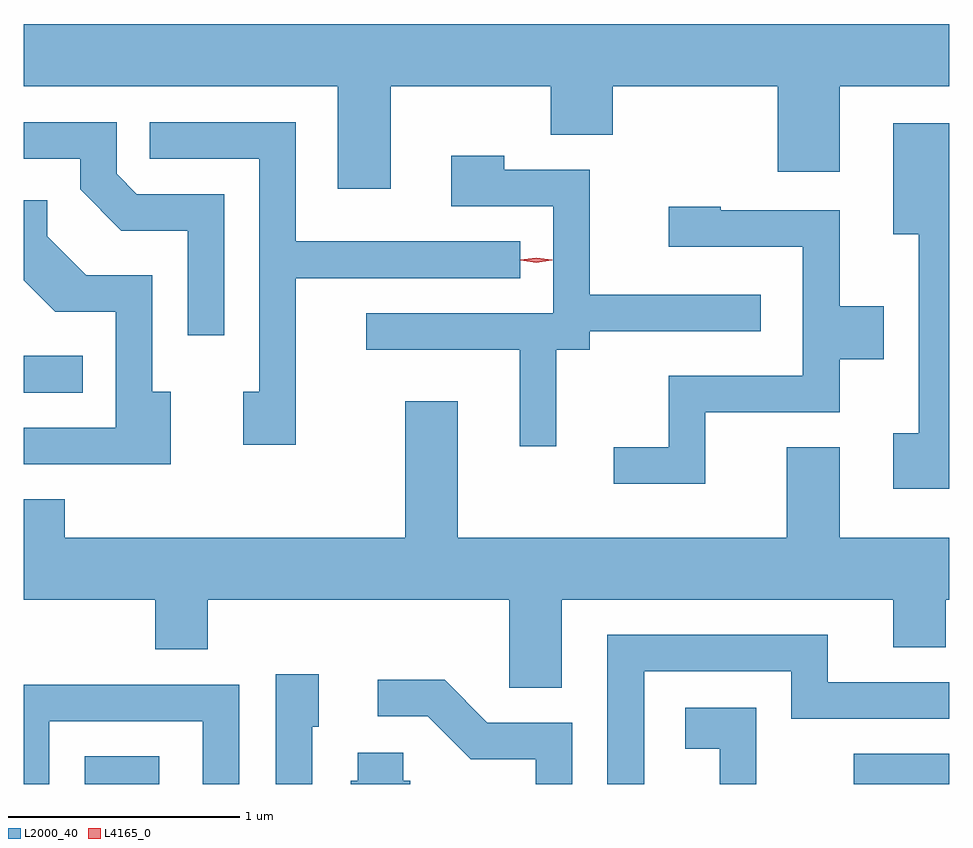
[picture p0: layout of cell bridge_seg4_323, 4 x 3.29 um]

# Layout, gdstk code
import gdstk
lib = gdstk.Library(unit=1e-6, precision=1e-09)
def R(c, l, rs):  # rectangles x0, y0, x1, y1
    for r in rs: c.add(gdstk.rectangle(r[:2], r[2:], *l))
def P(c, l, *ps):  # polygons
    for p in ps: c.add(gdstk.Polygon(p, *l))
L2000_40 = (2000, 40)
L4165_0 = (4165, 0)

bridge_seg4_323 = lib.new_cell('bridge_seg4_323')
R(bridge_seg4_323, L2000_40, [(625.926,1262.859,626.249,1262.979), (629.251,1262.859,629.663,1262.989), (625.663,1264.551,625.918,1264.709)])
P(bridge_seg4_323, L2000_40, [(627.249,1265.876),(627.941,1265.876),(627.941,1265.666),(628.209,1265.666),(628.209,1265.876),(628.921,1265.876),(628.921,1265.506),(629.189,1265.506),(629.189,1265.876),(629.663,1265.876),(629.663,1266.144),(625.663,1266.144),(625.663,1265.876),(627.021,1265.876),(627.021,1265.431),(627.249,1265.431)],
  [(626.529,1265.409),(626.152,1265.409),(626.064,1265.497),(626.064,1265.719),(625.663,1265.719),(625.663,1265.561),(625.906,1265.561),(625.906,1265.429),(626.084,1265.251),(626.371,1265.251),(626.371,1264.798),(626.529,1264.798)],
  [(626.839,1265.046),(627.808,1265.046),(627.808,1265.204),(626.839,1265.204),(626.839,1265.719),(626.208,1265.719),(626.208,1265.561),(626.681,1265.561),(626.681,1264.554),(626.611,1264.554),(626.611,1264.326),(626.839,1264.326)],
  [(629.663,1265.714),(629.421,1265.714),(629.421,1265.236),(629.531,1265.236),(629.531,1264.374),(629.421,1264.374),(629.421,1264.136),(629.663,1264.136)],
  [(627.964,1264.736),(628.109,1264.736),(628.109,1264.816),(628.848,1264.816),(628.848,1264.974),(628.109,1264.974),(628.109,1265.514),(627.739,1265.514),(627.739,1265.574),(627.511,1265.574),(627.511,1265.356),(627.951,1265.356),(627.951,1264.894),(627.143,1264.894),(627.143,1264.736),(627.806,1264.736),(627.806,1264.318),(627.964,1264.318)],
  [(626.299,1264.554),(626.219,1264.554),(626.219,1265.059),(625.932,1265.059),(625.764,1265.227),(625.764,1265.383),(625.663,1265.383),(625.663,1265.037),(625.799,1264.901),(626.061,1264.901),(626.061,1264.399),(625.663,1264.399),(625.663,1264.241),(626.299,1264.241)],
  [(628.609,1264.466),(629.189,1264.466),(629.189,1264.696),(629.379,1264.696),(629.379,1264.924),(629.189,1264.924),(629.189,1265.339),(628.675,1265.339),(628.675,1265.354),(628.451,1265.354),(628.451,1265.181),(629.031,1265.181),(629.031,1264.624),(628.451,1264.624),(628.451,1264.314),(628.213,1264.314),(628.213,1264.156),(628.609,1264.156)],
  [(627.989,1263.656),(629.421,1263.656),(629.421,1263.451),(629.649,1263.451),(629.649,1263.656),(629.663,1263.656),(629.663,1263.924),(629.189,1263.924),(629.189,1264.314),(628.961,1264.314),(628.961,1263.924),(627.539,1263.924),(627.539,1264.514),(627.311,1264.514),(627.311,1263.924),(625.839,1263.924),(625.839,1264.089),(625.663,1264.089),(625.663,1263.656),(626.231,1263.656),(626.231,1263.441),(626.459,1263.441),(626.459,1263.656),(627.761,1263.656),(627.761,1263.276),(627.989,1263.276)],
  [(628.344,1263.346),(628.981,1263.346),(628.981,1263.141),(629.663,1263.141),(629.663,1263.299),(629.139,1263.299),(629.139,1263.504),(628.186,1263.504),(628.186,1262.859),(628.344,1262.859)],
  [(626.909,1263.106),(626.939,1263.106),(626.939,1263.334),(626.751,1263.334),(626.751,1262.859),(626.909,1262.859)],
  [(628.034,1263.124),(627.667,1263.124),(627.482,1263.309),(627.193,1263.309),(627.193,1263.151),(627.409,1263.151),(627.594,1262.966),(627.876,1262.966),(627.876,1262.859),(628.034,1262.859)],
  [(625.774,1263.131),(626.436,1263.131),(626.436,1262.859),(626.594,1262.859),(626.594,1263.289),(625.663,1263.289),(625.663,1262.859),(625.774,1262.859)],
  [(628.829,1263.189),(628.521,1263.189),(628.521,1263.011),(628.671,1263.011),(628.671,1262.859),(628.829,1262.859)],
  [(627.334,1262.874),(627.304,1262.874),(627.304,1262.994),(627.106,1262.994),(627.106,1262.874),(627.076,1262.874),(627.076,1262.859),(627.334,1262.859)])
P(bridge_seg4_323, L4165_0, [(627.878,1265.113),(627.812,1265.122),(627.812,1265.123),(627.812,1265.123),(627.878,1265.133),(627.944,1265.123),(627.945,1265.123),(627.944,1265.122)],
  [(627.878,1265.114),(627.809,1265.123),(627.809,1265.124),(627.809,1265.124),(627.878,1265.134),(627.947,1265.124),(627.947,1265.124),(627.947,1265.123)])

lib.write_gds('bridge_seg4_323.gds')
